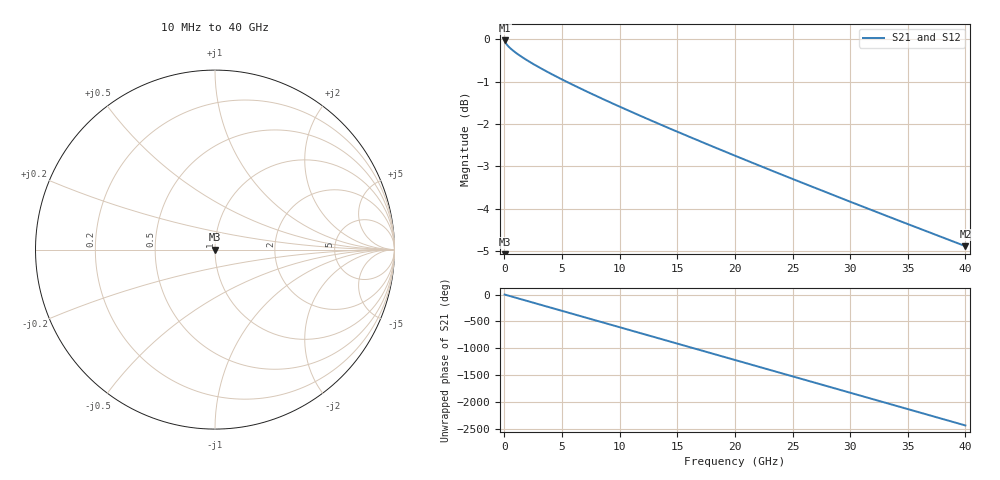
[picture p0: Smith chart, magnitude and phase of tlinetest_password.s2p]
! File created by SignalIntegrity v1.3.3: Signal and Power Integrity Tools
! https://github.com/TeledyneLeCroy/SignalIntegrity
# MHz S MA R 50.0
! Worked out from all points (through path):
!   4000 points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, 10 MHz to 40 GHz, reference 50 ohm
!   highest |S21| = -0.02 dB at 10 MHz (marker M1); lowest = -4.9 dB at 40 GHz (marker M2)
!   group delay of S21, straight-line fit = 169 ps
!   lowest |S11| = - dB at 10 MHz (marker M3), VSWR 1.00, Z = 50 + j0 ohm
!   |S11| at or under -10 dB: start of sweep to end of sweep
!   |S22| runs from - to - dB; largest |S21 - S12| = 0
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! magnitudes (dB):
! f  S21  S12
! 10 MHz  0.0  0.0
! 110 MHz  -0.1  -0.1
! 260 MHz  -0.1  -0.1
! 360 MHz  -0.2  -0.2
! 520 MHz  -0.2  -0.2
! 720 MHz  -0.3  -0.3
! 1.28 GHz  -0.4  -0.4
! 2.01 GHz  -0.5  -0.5
! 2.92 GHz  -0.6  -0.6
! 4 GHz  -0.8  -0.8
! 5.26 GHz  -1.0  -1.0
! 6.68 GHz  -1.2  -1.2
! 8.13 GHz  -1.4  -1.4
! 9.73 GHz  -1.6  -1.6
! 13.34 GHz  -2.0  -2.0
! 16.5 GHz  -2.4  -2.4
! 20.01 GHz  -2.8  -2.8
! 23.2 GHz  -3.1  -3.1
! 26.67 GHz  -3.5  -3.5
! 33.34 GHz  -4.2  -4.2
! 39.78 GHz  -4.9  -4.9
! 40 GHz  -4.9  -4.9
